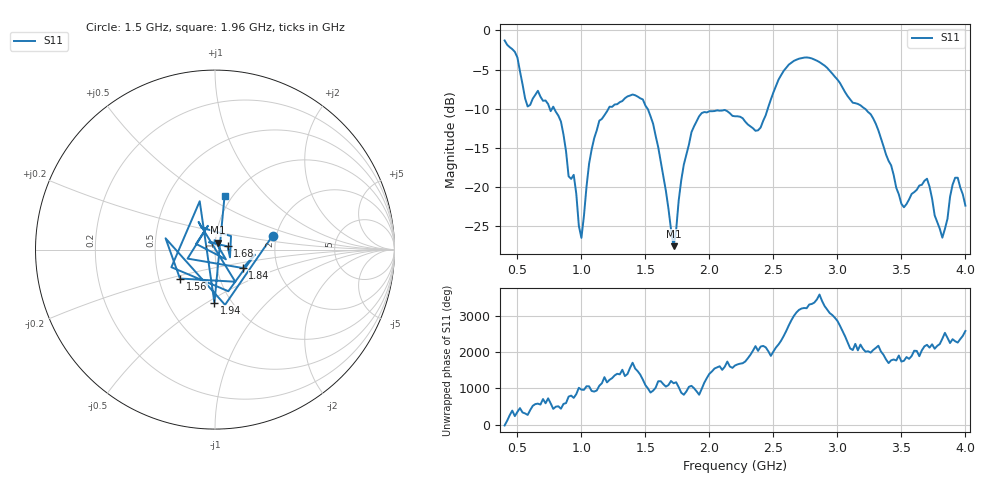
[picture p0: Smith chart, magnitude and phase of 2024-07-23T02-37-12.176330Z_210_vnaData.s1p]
!Created with skrf (http://scikit-rf.org).
# Hz S RI R 50.0
!freq ReS11 ImS11
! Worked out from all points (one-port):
!   181 points, 400 MHz to 4 GHz, reference 50 ohm
!   lowest |S11| = -27.6 dB at 1.72 GHz (marker M1), VSWR 1.09, Z = 51.6 + j3.92 ohm
!   |S11| at or under -10 dB: 787.6 MHz to 1.212 GHz (424.2 MHz wide, 42.4 % of centre); 1.516 GHz to 2.456 GHz (940.1 MHz wide, 47.3 % of centre); 3.214 GHz to end of sweep (the widest 3 of 4)
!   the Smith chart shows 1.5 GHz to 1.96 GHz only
!   S11 on the Smith chart (normalised r, x): 1.5 GHz: 1.91, +0.33; 1.56 GHz: 0.64, -0.22; 1.68 GHz: 1.15, +0.04; 1.84 GHz: 1.33, -0.28; 1.94 GHz: 0.83, -0.54; 1.96 GHz: 0.92, +0.60
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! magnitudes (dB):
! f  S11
! 400 MHz  -1.3
! 500 MHz  -3.5
! 580 MHz  -9.7
! 660 MHz  -7.7
! 860 MHz  -13.3
! 940 MHz  -18.5
! 1 GHz  -26.5
! 1.1 GHz  -13.8
! 1.3 GHz  -9.2
! 1.5 GHz  -9.6
! 1.56 GHz  -11.9
! 1.68 GHz  -22.8
! 1.72 GHz  -27.6
! 1.76 GHz  -21.8
! 1.84 GHz  -14.6
! 1.94 GHz  -10.6
! 1.96 GHz  -10.4
! 2.2 GHz  -11.0
! 2.38 GHz  -12.8
! 2.66 GHz  -3.9
! 3.1 GHz  -8.8
! 3.28 GHz  -11.3
! 3.5 GHz  -22.2
! 3.56 GHz  -21.6
! 3.7 GHz  -19.0
! 3.82 GHz  -26.5
! 3.92 GHz  -18.8
! 4 GHz  -22.4
